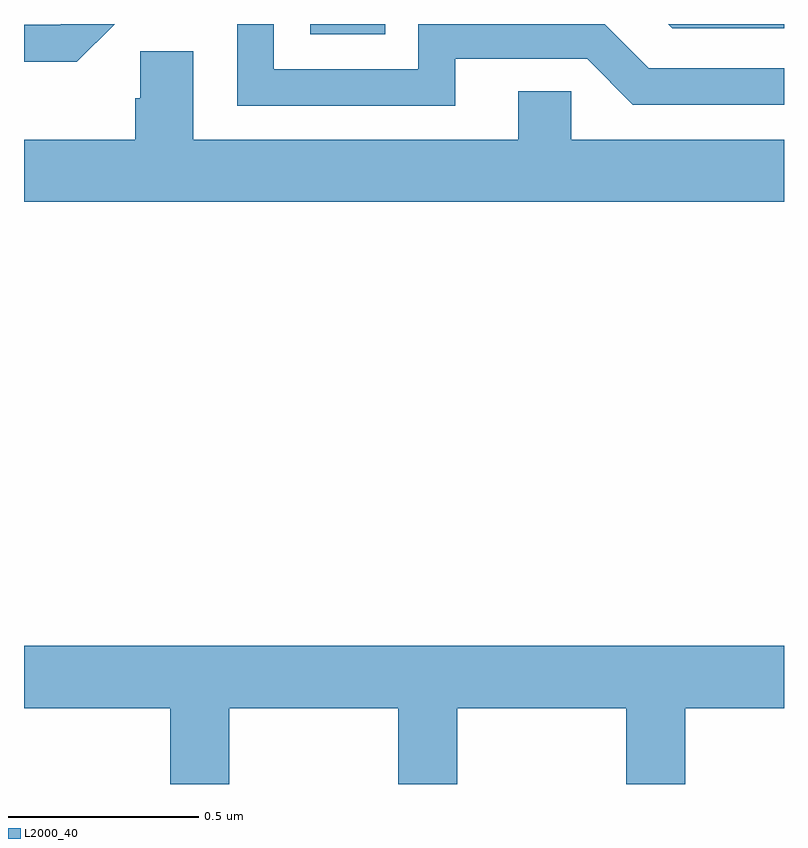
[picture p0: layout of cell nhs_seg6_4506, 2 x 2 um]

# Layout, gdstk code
import gdstk
lib = gdstk.Library(unit=1e-6, precision=1e-09)
def R(c, l, rs):  # rectangles x0, y0, x1, y1
    for r in rs: c.add(gdstk.rectangle(r[:2], r[2:], *l))
def P(c, l, *ps):  # polygons
    for p in ps: c.add(gdstk.Polygon(p, *l))
L2000_40 = (2000, 40)

nhs_seg6_4506 = lib.new_cell('nhs_seg6_4506')
R(nhs_seg6_4506, L2000_40, [(171.753,918.473,171.951,918.5)])
P(nhs_seg6_4506, L2000_40, [(171.239,918.5),(171.097,918.5),(171.095,918.498),(171,918.498),(171,918.401),(171.139,918.401)],
  [(173,918.5),(172.695,918.5),(172.706,918.489),(173,918.489)],
  [(172.135,918.408),(172.482,918.408),(172.602,918.288),(173,918.288),(173,918.384),(172.644,918.384),(172.528,918.5),(172.038,918.5),(172.038,918.381),(171.657,918.381),(171.657,918.5),(171.561,918.5),(171.561,918.285),(172.135,918.285)],
  [(173,918.196),(172.44,918.196),(172.44,918.323),(172.301,918.323),(172.301,918.196),(171.445,918.196),(171.445,918.428),(171.306,918.428),(171.306,918.305),(171.293,918.305),(171.293,918.196),(171,918.196),(171,918.032),(173,918.032)],
  [(171.54,916.7),(171.985,916.7),(171.985,916.5),(172.14,916.5),(172.14,916.7),(172.585,916.7),(172.585,916.5),(172.74,916.5),(172.74,916.7),(173,916.7),(173,916.864),(171,916.864),(171,916.7),(171.385,916.7),(171.385,916.5),(171.54,916.5)])

lib.write_gds('nhs_seg6_4506.gds')
